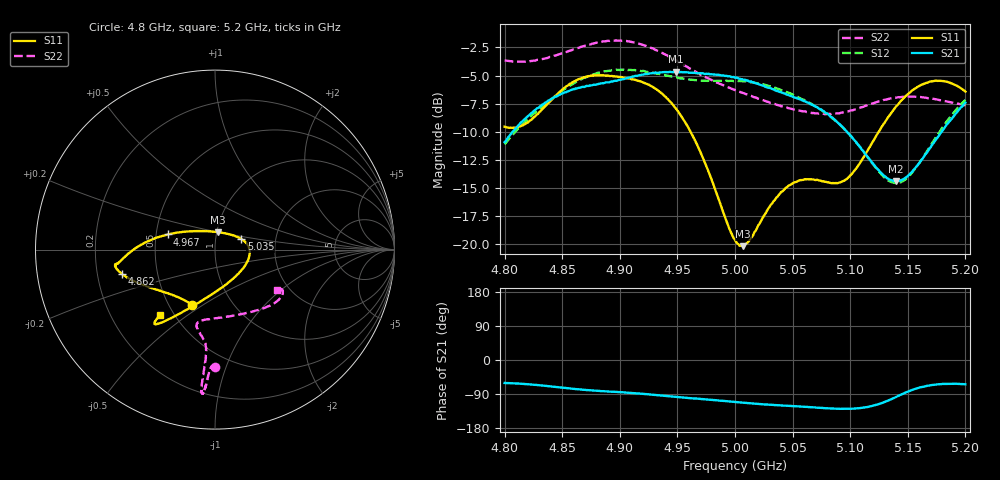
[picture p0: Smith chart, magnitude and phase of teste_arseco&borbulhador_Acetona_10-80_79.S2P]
! Network Analyzer HP8722D
! Hewlett-Packard
! Data name: Linha & Wilkinson
! Saver's name: Rodrigo Anjos
! Comments: Teste da utilização de aquisição
! continua pelo VNA HP8722D
! Time and date: 17/4/2025 15:01
!  Frequency  S11  S21  S12  S22
# HZ  S  MA R 50
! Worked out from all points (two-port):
!   401 points, 4.8 GHz to 5.2 GHz, reference 50 ohm
!   highest |S21| = -4.67 dB at 4.949 GHz (marker M1); lowest = -14.4 dB at 5.14 GHz (marker M2)
!   |S21| within 3 dB of the highest: 4.832 GHz to 5.068 GHz (236.6 MHz wide, 4.78 % of centre); 5.197821 GHz to end of sweep
!   lowest |S11| = -20.2 dB at 5.007 GHz (marker M3), VSWR 1.22, Z = 50.8 + j9.91 ohm
!   |S11| at or under -10 dB: 4.961 GHz to 5.125 GHz (163.3 MHz wide, 3.24 % of centre)
!   |S22| runs from -8.4 to -1.9 dB; largest |S21 - S12| = 0.88
!   S11 on the Smith chart (normalised r, x): 4.8 GHz: 0.65, -0.45; 4.862 GHz: 0.31, -0.12; 4.967 GHz: 0.57, +0.10; 5.035 GHz: 1.33, +0.16; 5.2 GHz: 0.42, -0.40
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4.8e9  0.3331 -112.9  0.2844 -60.6  0.2784 -174.8  0.6558 -89.9
4.819e9  0.3457 -132.7  0.3669 -63.7  0.3547 -173.2  0.6493 -91.3
4.862e9  0.5347 -165.2  0.4931 -76.7  0.5263 -176.4  0.7411 -93.6
4.867e9  0.5482 -167.2  0.5002 -78.3  0.5424 -177.3  0.7545 -93.8
4.903e9  0.5503 -171.7  0.5424 -85.4  0.5981 175.2  0.8018 -95.3
4.934e9  0.4786 -177.7  0.5795 -93.0  0.5734 172.2  0.7194 -95.5
4.949e9  0.3994 175.0  0.5841 -97.3  0.5527 172.4  0.6557 -95.2
4.967e9  0.2777 162.4  0.5773 -102.0  0.5356 174.1  0.5798 -94.9
5e9  0.1046 104.0  0.5495 -110.8  0.5319 176.5  0.4844 -99.0
5.007e9  0.09815 79.5  0.5395 -112.6  0.5291 176.5  0.47 -100.6
5.014e9  0.1068 58.1  0.5294 -114.5  0.5242 176.2  0.4569 -102.1
5.035e9  0.1586 21.6  0.4832 -119.0  0.496 175.0  0.4198 -103.2
5.05e9  0.1864 6.1  0.4531 -121.5  0.4626 174.5  0.3991 -99.7
5.067e9  0.1944 -12.1  0.4173 -124.5  0.4191 173.9  0.3829 -91.0
5.087e9  0.1871 -44.1  0.3565 -128.3  0.3543 173.6  0.381 -76.0
5.097e9  0.195 -64.8  0.317 -129.0  0.3165 174.4  0.3888 -67.7
5.134e9  0.3729 -115.6  0.1941 -105.7  0.191 -158.6  0.4434 -43.0
5.14e9  0.4106 -119.3  0.1905 -97.5  0.1876 -149.0  0.4485 -40.3
5.152e9  0.4738 -124.2  0.206 -81.1  0.2033 -130.5  0.4531 -35.9
5.17e9  0.5288 -128.3  0.2707 -66.4  0.2764 -112.6  0.4449 -31.8
5.184e9  0.5275 -129.6  0.3413 -62.9  0.3528 -107.1  0.4312 -30.8
5.2e9  0.4769 -130.1  0.4258 -64.0  0.4381 -106.1  0.4149 -33.1
